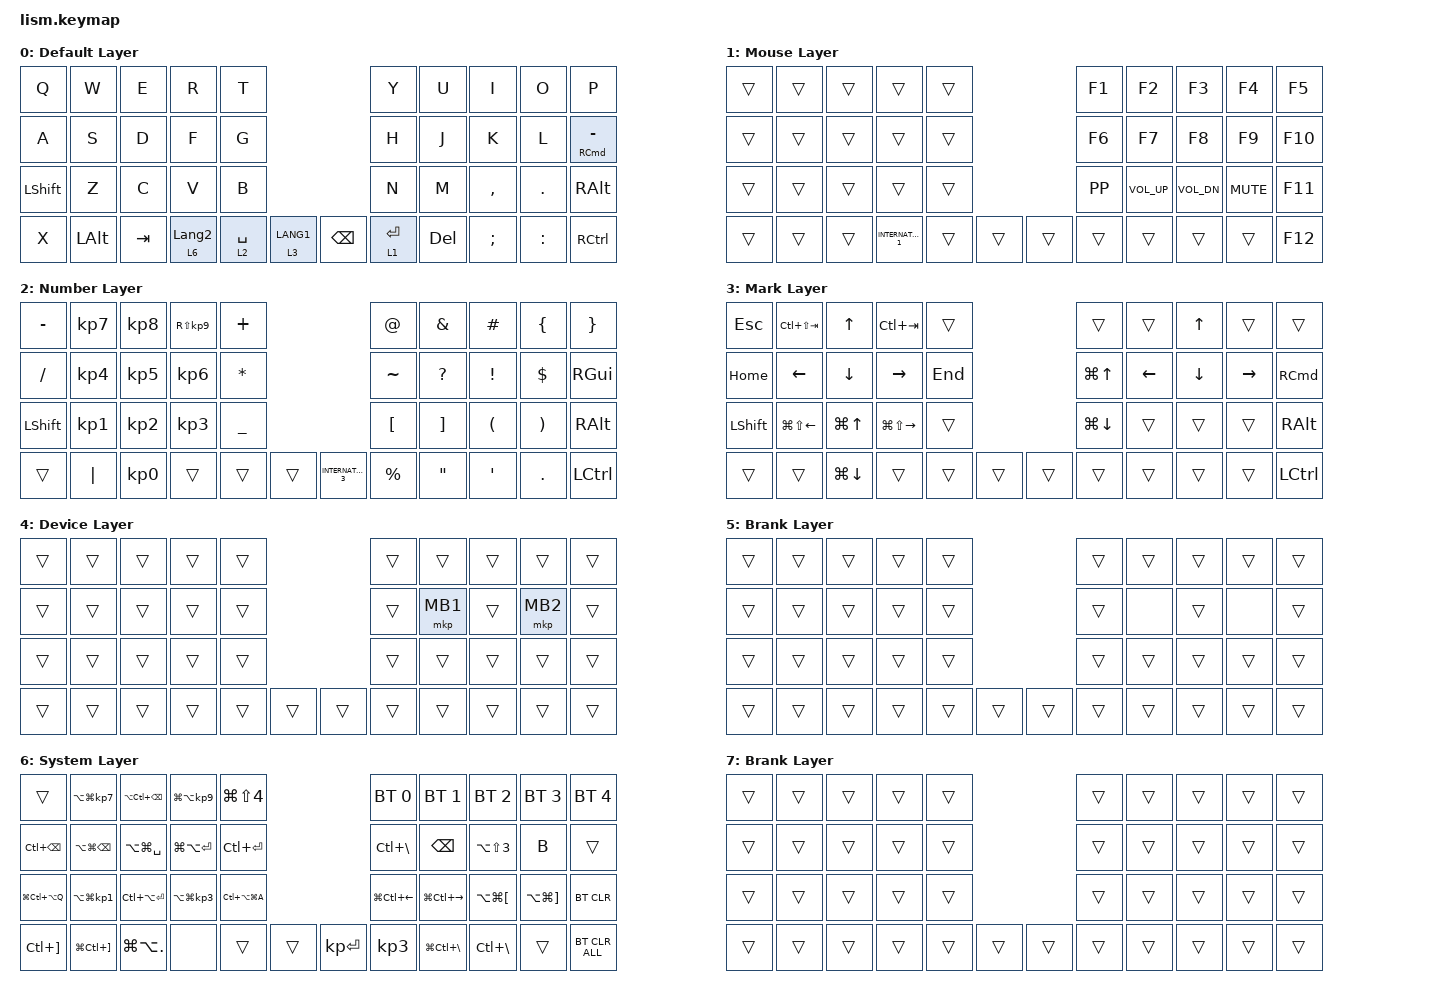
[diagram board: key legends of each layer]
#define ZMK_POINTING_DEFAULT_SCRL_VAL 200

#include <dt-bindings/zmk/mouse.h>
#include <input/processors.dtsi>
#include <dt-bindings/zmk/input_transform.h>
#include <behaviors.dtsi>
#include <dt-bindings/zmk/bt.h>
#include <dt-bindings/zmk/keys.h>
#include <dt-bindings/zmk/pointing.h>

&mt {
    tapping-term-ms = <300>;
    flavor = "balanced";
};

&lt { quick-tap-ms = <300>; };

&central_listener {
    input-processors = <&zip_temp_layer 4 500>;

    scroller {
        layers = <5>;
        input-processors = <&zip_xy_to_scroll_mapper &zip_scroll_scaler 1 3>;
    };
};

/ {
    macros {
        emoji: emoji_macro {
            compatible = "zmk,behavior-macro";
            label = "EMOJI";
            #binding-cells = <0>;
            bindings =
                <&macro_press>,
                <&kp CAPSLOCK>,
                <&macro_tap>,
                <&kp E>,
                <&macro_release>,
                <&kp CAPSLOCK>;
        };
    };

    behaviors {
        encoder_msc: sensor_rotate_msc {
            compatible = "zmk,behavior-sensor-rotate-var";
            #sensor-binding-cells = <2>;
            bindings = <&msc>, <&msc>;

            tap-ms = <20>;
        };

        encoder_kp: sensor_rotate_kp {
            compatible = "zmk,behavior-sensor-rotate-var";
            #sensor-binding-cells = <2>;
            bindings = <&kp>, <&kp>;
        };
    };

    combos {
        compatible = "zmk,combos";

        esc {
            bindings = <&kp ESCAPE>;
            key-positions = <0 1>;
        };

        desktop_left {
            bindings = <&kp LC(LEFT)>;
            key-positions = <16 15>;
        };

        desktop_right {
            bindings = <&kp LC(RIGHT)>;
            key-positions = <18 19>;
        };

        tab {
            bindings = <&kp TAB>;
            key-positions = <11 12>;
        };

        shift_tabj {
            bindings = <&kp LS(TAB)>;
            key-positions = <12 13>;
        };

        coron {
            bindings = <&kp COLON>;
            key-positions = <20 21>;
        };

        comma {
            bindings = <&kp COMMA>;
            key-positions = <30 31>;
        };

        PT_p {
            bindings = <&kp P>;
            key-positions = <4 14>;
        };

        PT_semicoron {
            bindings = <&kp SEMICOLON>;
            key-positions = <14 24>;
        };

        scroll {
            bindings = <&lt 5 LANG9>;
            key-positions = <17 18>;
        };
    };

    keymap {
        compatible = "zmk,keymap";

        default_layer {
            display-name = "Default Layer";
            bindings = <
&kp Q           &kp W         &kp E    &kp R             &kp T                                      &kp Y        &kp U       &kp I          &kp O      &kp P
&kp A           &kp S         &kp D    &kp F             &kp G                                      &kp H        &kp J       &kp K          &kp L      &mt RIGHT_COMMAND MINUS
&kp LEFT_SHIFT  &kp Z         &kp C    &kp V             &kp B                                      &kp N        &kp M       &kp COMMA      &kp DOT    &kp RIGHT_ALT
&kp X           &kp LEFT_ALT  &kp TAB  &lt 6 LANGUAGE_2  &lt 2 SPACE  &lt 3 LANG1    &kp BACKSPACE  &lt 1 ENTER  &kp DELETE  &kp SEMICOLON  &kp COLON  &kp RIGHT_CONTROL
            >;
        };

        FUNCTION {
            display-name = "Mouse Layer";
            bindings = <
&trans  &trans  &trans  &trans               &trans                    &kp F1    &kp F2        &kp F3        &kp F4      &kp F5
&trans  &trans  &trans  &trans               &trans                    &kp F6    &kp F7        &kp F8        &kp F9      &kp F10
&trans  &trans  &trans  &trans               &trans                    &kp K_PP  &kp C_VOL_UP  &kp C_VOL_DN  &kp K_MUTE  &kp F11
&trans  &trans  &trans  &kp INTERNATIONAL_1  &trans  &trans    &trans  &trans    &trans        &trans        &trans      &kp F12
            >;
        };

        NUM {
            display-name = "Number Layer";
            bindings = <
&kp MINUS       &kp KP_NUMBER_7  &kp KP_NUMBER_8  &kp RS(KP_NUMBER_9)  &kp PLUS                                       &kp AT_SIGN       &kp AMPERSAND      &kp HASH              &kp LEFT_BRACE         &kp RIGHT_BRACE
&kp SLASH       &kp KP_NUMBER_4  &kp KP_NUMBER_5  &kp KP_NUMBER_6      &kp ASTERISK                                   &kp TILDE         &kp QUESTION       &kp EXCLAMATION       &kp DOLLAR             &kp RGUI
&kp LEFT_SHIFT  &kp KP_NUMBER_1  &kp KP_NUMBER_2  &kp KP_NUMBER_3      &kp UNDERSCORE                                 &kp LEFT_BRACKET  &kp RIGHT_BRACKET  &kp LEFT_PARENTHESIS  &kp RIGHT_PARENTHESIS  &kp RALT
&trans          &kp PIPE         &kp KP_NUMBER_0  &trans               &trans          &trans    &kp INTERNATIONAL_3  &kp PERCENT       &kp DOUBLE_QUOTES  &kp SQT               &kp PERIOD             &kp LEFT_CONTROL
            >;
        };

        ARROW {
            display-name = "Mark Layer";
            bindings = <
&kp ESCAPE      &kp LC(LS(TAB))   &kp UP_ARROW        &kp LC(TAB)        &trans                     &trans            &trans    &kp UP_ARROW    &trans     &trans
&kp HOME        &kp LEFT          &kp DOWN            &kp RIGHT          &kp END                    &kp LG(UP_ARROW)  &kp LEFT  &kp DOWN_ARROW  &kp RIGHT  &kp RIGHT_COMMAND
&kp LEFT_SHIFT  &kp LG(LS(LEFT))  &kp LG(UP_ARROW)    &kp LG(LS(RIGHT))  &trans                     &kp LG(DOWN)      &trans    &trans          &trans     &kp RIGHT_ALT
&trans          &trans            &kp LG(DOWN_ARROW)  &trans             &trans   &trans    &trans  &trans            &trans    &trans          &trans     &kp LEFT_CONTROL
            >;
        };

        MOUSE {
            display-name = "Device Layer";
            bindings = <
&trans  &trans  &trans  &trans  &trans                    &trans  &trans    &trans  &trans    &trans
&trans  &trans  &trans  &trans  &trans                    &trans  &mkp MB1  &trans  &mkp MB2  &trans
&trans  &trans  &trans  &trans  &trans                    &trans  &trans    &trans  &trans    &trans
&trans  &trans  &trans  &trans  &trans  &trans    &trans  &trans  &trans    &trans  &trans    &trans
            >;
        };

        SCROLL {
            display-name = "Brank Layer";
            bindings = <
&trans  &trans  &trans  &trans  &trans                    &trans  &trans  &trans  &trans  &trans
&trans  &trans  &trans  &trans  &trans                    &trans  &none   &trans  &none   &trans
&trans  &trans  &trans  &trans  &trans                    &trans  &trans  &trans  &trans  &trans
&trans  &trans  &trans  &trans  &trans  &trans    &trans  &trans  &trans  &trans  &trans  &trans
            >;
        };

        layer_6 {
            display-name = "System Layer";
            bindings = <
&trans                 &kp LA(LG(KP_NUMBER_7))    &kp LA(LC(BACKSPACE))  &kp LG(LA(KP_NUMBER_9))  &kp LG(LS(NUMBER_4))                          &bt BT_SEL 0       &bt BT_SEL 1           &bt BT_SEL 2              &bt BT_SEL 3               &bt BT_SEL 4
&kp LC(BACKSPACE)      &kp LA(LG(BACKSPACE))      &kp LA(LG(SPACE))      &kp LG(LA(ENTER))        &kp LC(ENTER)                                 &kp LC(BACKSLASH)  &kp BACKSPACE          &kp LA(LS(NUMBER_3))      &kp B                      &trans
&kp LG(LC(LA(Q)))      &kp LA(LG(KP_NUMBER_1))    &kp LC(LA(ENTER))      &kp LA(LG(KP_NUMBER_3))  &kp LC(LA(LG(A)))                             &kp LG(LC(LEFT))   &kp LG(LC(RIGHT))      &kp LA(LG(LEFT_BRACKET))  &kp LA(LG(RIGHT_BRACKET))  &bt BT_CLR
&kp LC(RIGHT_BRACKET)  &kp LG(LC(RIGHT_BRACKET))  &kp LG(LA(PERIOD))     &none                    &trans                &trans    &kp KP_ENTER  &kp KP_NUMBER_3    &kp LG(LC(BACKSLASH))  &kp LC(BACKSLASH)         &trans                     &bt BT_CLR_ALL
            >;
        };

        layer_7 {
            display-name = "Brank Layer";
            bindings = <
&trans  &trans  &trans  &trans  &trans                    &trans  &trans  &trans  &trans  &trans
&trans  &trans  &trans  &trans  &trans                    &trans  &trans  &trans  &trans  &trans
&trans  &trans  &trans  &trans  &trans                    &trans  &trans  &trans  &trans  &trans
&trans  &trans  &trans  &trans  &trans  &trans    &trans  &trans  &trans  &trans  &trans  &trans
            >;
        };
    };
};
